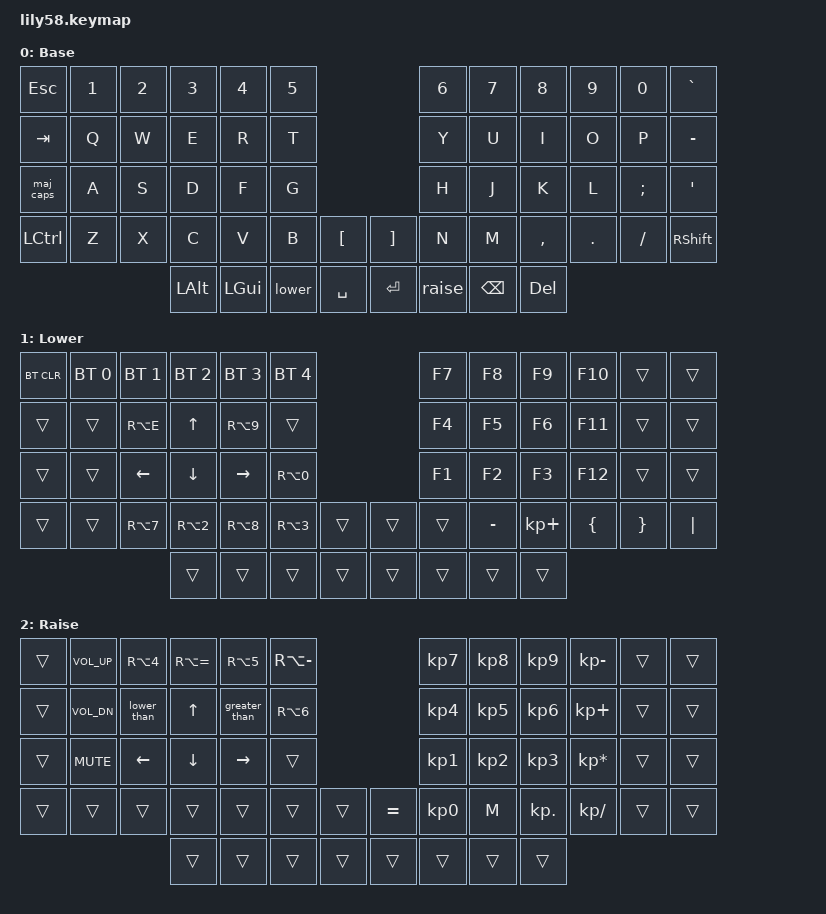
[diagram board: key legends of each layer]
/*
 * Copyright (c) 2020 The ZMK Contributors
 *
 * SPDX-License-Identifier: MIT
 */

#include <behaviors.dtsi>
#include <dt-bindings/zmk/bt.h>
#include <dt-bindings/zmk/keys.h>

/ {
    behaviors {
        maj_caps: maj_caps {
            compatible = "zmk,behavior-tap-dance";
            label = "MAJ_CAPS";
            #binding-cells = <0>;
            bindings = <&kp LSHIFT>, <&kp CAPSLOCK>;
        };

        raise: raise {
            compatible = "zmk,behavior-tap-dance";
            label = "RAISE";
            #binding-cells = <0>;
            bindings = <&mo 2>, <&tog 2>;
        };

        lower: lower {
            compatible = "zmk,behavior-tap-dance";
            label = "LOWER";
            #binding-cells = <0>;
            bindings = <&mo 1>, <&tog 1>;
        };
    };

    macros {
        lower_than: lower_than {
            compatible = "zmk,behavior-macro";
            #binding-cells = <0>;
            bindings =
                <&macro_press>,
                <&kp LEFT_ALT &kp KP_N6>,
                <&macro_release>,
                <&kp KP_N6>,
                <&macro_press>,
                <&kp KP_N0>,
                <&macro_release>,
                <&kp KP_N0 &kp LEFT_ALT>;

            label = "LOWER_THAN";
        };

        greater_than: greater_than {
            compatible = "zmk,behavior-macro";
            #binding-cells = <0>;
            bindings =
                <&macro_press>,
                <&kp LEFT_ALT &kp KP_N6>,
                <&macro_release>,
                <&kp KP_N6>,
                <&macro_press>,
                <&kp KP_N2>,
                <&macro_release>,
                <&kp KP_N2 &kp LEFT_ALT>;

            label = "GREATER_THAN";
        };
    };

    keymap {
        compatible = "zmk,keymap";

        default_layer {
            // ------------------------------------------------------------------------------------------------------------
            // |  ESC  |  1  |  2  |  3   |  4   |  5   |                   |  6   |  7    |  8    |  9   |   0   |   `   |
            // |  TAB  |  Q  |  W  |  E   |  R   |  T   |                   |  Y   |  U    |  I    |  O   |   P   |   -   |
            // |  CTRL |  A  |  S  |  D   |  F   |  G   |                   |  H   |  J    |  K    |  L   |   ;   |   '   |
            // | SHIFT |  Z  |  X  |  C   |  V   |  B   |   "["  |  |  "]"  |  N   |  M    |  ,    |  .   |   /   | SHIFT |
            //                     | ALT  | GUI  | LOWER|  SPACE |  | ENTER | RAISE| BSPC  | GUI   |

            display-name = "Base";
            bindings = <
&kp ESC    &kp N1  &kp N2  &kp N3    &kp N4    &kp N5                         &kp N6  &kp N7    &kp N8      &kp N9   &kp N0    &kp GRAVE
&kp TAB    &kp Q   &kp W   &kp E     &kp R     &kp T                          &kp Y   &kp U     &kp I       &kp O    &kp P     &kp MINUS
&maj_caps  &kp A   &kp S   &kp D     &kp F     &kp G                          &kp H   &kp J     &kp K       &kp L    &kp SEMI  &kp SQT
&kp LCTRL  &kp Z   &kp X   &kp C     &kp V     &kp B   &kp LBKT     &kp RBKT  &kp N   &kp M     &kp COMMA   &kp DOT  &kp FSLH  &kp RSHFT
                           &kp LALT  &kp LGUI  &lower  &kp SPACE    &kp RET   &raise  &kp BSPC  &kp DELETE
            >;
        };

        lower_layer {
            // ------------------------------------------------------------------------------------------------------------
            // | BTCLR | BT1 | BT2 |  BT3 |  BT4 |  BT5 |                   |      |       |       |      |       |       |
            // |  F1   |  F2 |  F3 |  F4  |  F5  |  F6  |                   |  F7  |  F8   |  F9   |  F10 |  F11  |  F12  |
            // |   `   |  !  |  @  |  #   |  $   |  %   |                   |  ^   |  &    |  *    |  (   |   )   |   ~   |
            // |       |     |     |      |      |      |        |  |       |      |  _    |  +    |  {   |   }   |  "|"  |
            //                     |      |      |      |        |  |       |      |       |       |

            display-name = "Lower";
            bindings = <
&bt BT_CLR  &bt BT_SEL 0  &bt BT_SEL 1      &bt BT_SEL 2      &bt BT_SEL 3      &bt BT_SEL 4                        &kp F7  &kp F8     &kp F9       &kp F10   &trans    &trans
&trans      &trans        &kp RA(E)         &kp UP_ARROW      &kp RA(NUMBER_9)  &trans                              &kp F4  &kp F5     &kp F6       &kp F11   &trans    &trans
&trans      &trans        &kp LEFT_ARROW    &kp DOWN_ARROW    &kp RIGHT_ARROW   &kp RA(NUMBER_0)                    &kp F1  &kp F2     &kp F3       &kp F12   &trans    &trans
&trans      &trans        &kp RA(NUMBER_7)  &kp RA(NUMBER_2)  &kp RA(NUMBER_8)  &kp RA(NUMBER_3)  &trans    &trans  &trans  &kp MINUS  &kp KP_PLUS  &kp LBRC  &kp RBRC  &kp PIPE
                                            &trans            &trans            &trans            &trans    &trans  &trans  &trans     &trans
            >;
        };

        raise_layer {
            // ------------------------------------------------------------------------------------------------------------
            // |       |     |     |      |      |      |                   |      |       |       |      |       |       |
            // |   `   |  1  |  2  |  3   |  4   |  5   |                   |  6   |   7   |   8   |  9   |   0   |       |
            // |   F1  |  F2 |  F3 |  F4  |  F5  |  F6  |                   |      |   <-  |   v   |  ^   |  ->   |       |
            // |   F7  |  F8 |  F9 |  F10 |  F11 |  F12 |        |  |       |  +   |   -   |   =   |  [   |   ]   |   \   |
            //                     |      |      |      |        |  |       |      |       |       |

            display-name = "Raise";
            bindings = <
&trans  &kp C_VOL_UP  &kp RA(NUMBER_4)  &kp RA(EQUAL)   &kp RA(NUMBER_5)  &kp RA(MINUS)                          &kp KP_NUMBER_7  &kp KP_NUMBER_8  &kp KP_NUMBER_9  &kp KP_MINUS     &trans  &trans
&trans  &kp C_VOL_DN  &lower_than       &kp UP_ARROW    &greater_than     &kp RA(NUMBER_6)                       &kp KP_NUMBER_4  &kp KP_NUMBER_5  &kp KP_NUMBER_6  &kp KP_PLUS      &trans  &trans
&trans  &kp C_MUTE    &kp LEFT_ARROW    &kp DOWN_ARROW  &kp RIGHT_ARROW   &trans                                 &kp KP_NUMBER_1  &kp KP_NUMBER_2  &kp KP_NUMBER_3  &kp KP_MULTIPLY  &trans  &trans
&trans  &trans        &trans            &trans          &trans            &trans            &trans    &kp EQUAL  &kp KP_NUMBER_0  &kp M            &kp KP_DOT       &kp KP_SLASH     &trans  &trans
                                        &trans          &trans            &trans            &trans    &trans     &trans           &trans           &trans
            >;
        };
    };
};
